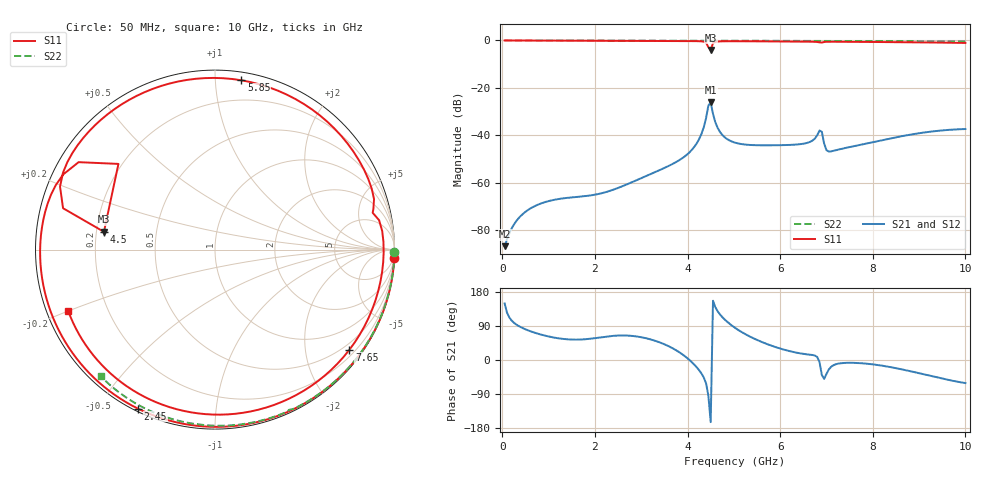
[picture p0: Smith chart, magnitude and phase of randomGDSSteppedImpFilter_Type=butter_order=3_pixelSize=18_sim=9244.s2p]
! freq	dB(S11)	phase(S11)	dB(S12)	phase(S12)
!  dB(S21)	phase(S21)	dB(S22)	phase(S22)
!S-par simulation data
#  GHz  S  DB  R 50
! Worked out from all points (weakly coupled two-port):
!   200 points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, 50 MHz to 10 GHz, reference 50 ohm
!   highest |S21| = -26.16 dB at 4.5 GHz (marker M1); lowest = -86.8 dB at 50 MHz (marker M2)
!   lowest |S11| = -4.1 dB at 4.5 GHz (marker M3), VSWR 4.36, Z = 11.5 + j3.77 ohm
!   |S11| at or under -10 dB: nowhere
!   |S22| runs from -0.4 to 0.0 dB; largest |S21 - S12| = 0
!   S11 on the Smith chart (normalised r, x): 50 MHz: 0, -45; 2.45 GHz: 0.01, -0.63; 4.5 GHz: 0.23, +0.08; 5.85 GHz: 0.05, +1.17; 7.65 GHz: 0.34, -2.98; 10 GHz: 0.06, -0.20
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0.05  -0.00 -2.5  -86.81 149.3  -86.81 149.3  -0.00 -0.8
0.75  -0.04 -37.5  -69.46 70.1  -69.46 70.1  -0.01 -11.4
1.75  -0.10 -84.8  -65.77 54.4  -65.77 54.4  -0.03 -26.4
2.45  -0.14 -115.9  -62.61 64.2  -62.61 64.2  -0.05 -36.6
3.4  -0.19 -157.1  -54.70 46.4  -54.70 46.4  -0.07 -50.2
4.15  -0.27 167.5  -44.79 -12.8  -44.79 -12.8  -0.09 -60.6
4.35  -0.51 153.6  -36.67 -46.0  -36.67 -46.0  -0.09 -63.4
4.45  -2.86 138.4  -27.47 -93.9  -27.47 -93.9  -0.13 -64.8
4.5  -4.06 170.9  -26.16 -163.9  -26.16 -163.9  -0.15 -65.1
4.55  -1.14 164.8  -30.98 156.4  -30.98 156.4  -0.11 -65.8
4.7  -0.39 149.3  -38.59 120.4  -38.59 120.4  -0.10 -67.9
5.05  -0.33 128.4  -43.26 82.8  -43.26 82.8  -0.11 -72.6
5.85  -0.40 81.1  -44.24 36.2  -44.24 36.2  -0.14 -82.9
6.25  -0.45 55.3  -44.05 22.0  -44.05 22.0  -0.16 -88.0
6.7  -0.53 24.8  -42.22 13.2  -42.22 13.2  -0.18 -93.6
6.85  -0.82 14.3  -37.99 -5.5  -37.99 -5.5  -0.20 -95.4
6.9  -0.90 13.1  -38.54 -39.5  -38.54 -39.5  -0.20 -95.9
7.05  -0.54 2.7  -46.89 -25.1  -46.89 -25.1  -0.20 -97.8
7.65  -0.59 -36.7  -44.38 -7.8  -44.38 -7.8  -0.24 -105.0
8.35  -0.69 -77.6  -41.47 -18.0  -41.47 -18.0  -0.29 -113.2
9.1  -0.82 -115.8  -38.87 -37.8  -38.87 -37.8  -0.35 -121.9
10  -1.05 -157.2  -37.38 -60.9  -37.38 -60.9  -0.45 -132.2
